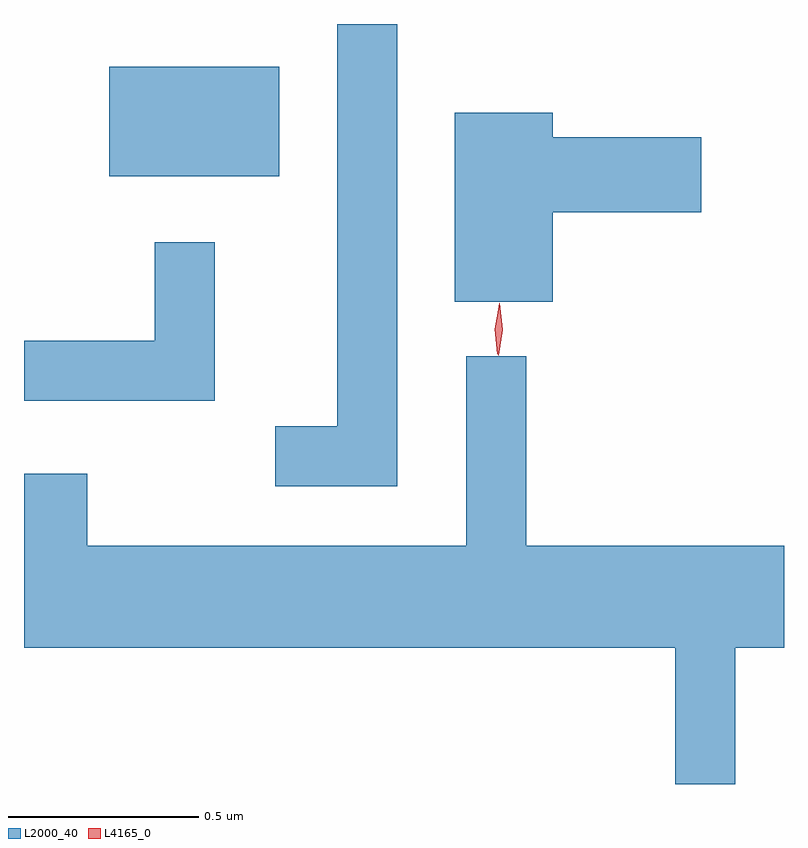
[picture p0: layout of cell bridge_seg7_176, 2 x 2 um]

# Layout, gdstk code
import gdstk
lib = gdstk.Library(unit=1e-6, precision=1e-09)
def R(c, l, rs):  # rectangles x0, y0, x1, y1
    for r in rs: c.add(gdstk.rectangle(r[:2], r[2:], *l))
def P(c, l, *ps):  # polygons
    for p in ps: c.add(gdstk.Polygon(p, *l))
L2000_40 = (2000, 40)
L4165_0 = (4165, 0)

bridge_seg7_176 = lib.new_cell('bridge_seg7_176')
R(bridge_seg7_176, L2000_40, [(1568.906,1688.916,1569.354,1689.204)])
P(bridge_seg7_176, L2000_40, [(1569.664,1689.317),(1569.506,1689.317),(1569.506,1688.259),(1569.343,1688.259),(1569.343,1688.101),(1569.664,1688.101)],
  [(1570.074,1688.821),(1570.464,1688.821),(1570.464,1689.019),(1570.074,1689.019),(1570.074,1689.084),(1569.816,1689.084),(1569.816,1688.586),(1570.074,1688.586)],
  [(1569.184,1688.743),(1569.026,1688.743),(1569.026,1688.484),(1568.682,1688.484),(1568.682,1688.326),(1569.184,1688.326)],
  [(1570.554,1687.676),(1570.682,1687.676),(1570.682,1687.944),(1570.004,1687.944),(1570.004,1688.443),(1569.846,1688.443),(1569.846,1687.944),(1568.849,1687.944),(1568.849,1688.134),(1568.682,1688.134),(1568.682,1687.676),(1570.396,1687.676),(1570.396,1687.317),(1570.554,1687.317)])
P(bridge_seg7_176, L4165_0, [(1569.93,1688.445),(1569.922,1688.514),(1569.933,1688.582),(1569.933,1688.582),(1569.934,1688.582),(1569.942,1688.513),(1569.931,1688.445),(1569.931,1688.445)],
  [(1569.928,1688.448),(1569.928,1688.449),(1569.921,1688.514),(1569.933,1688.579),(1569.934,1688.579),(1569.934,1688.579),(1569.941,1688.513),(1569.929,1688.449)])

lib.write_gds('bridge_seg7_176.gds')
